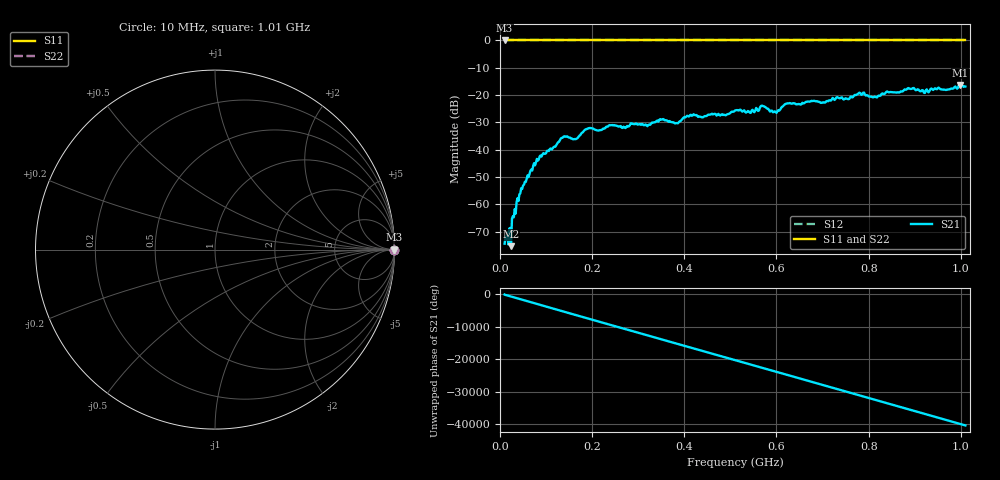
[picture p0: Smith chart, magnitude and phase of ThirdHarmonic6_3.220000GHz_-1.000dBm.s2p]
! 8/17/2025 9:49:49 AM
! C:\ANRITSUVNA\TEMP\TEMP.S2P
! CHANNEL.1
! TR.MEASUREMENT
! RAW.DATA
! RF.CORRECTION.OFF
! AVERAGING.OFF
! IF.BANDWIDTH: 5KHZ
! SWEEPTYPE:  FREQ.SWEEP(Linear)
! Reference Plane Port Info
! PORT:  PORT1  PORT2
! DISTANCE:  0  m  0  m
! TIME:  0  s  0  s
! PHASE.OFFSET:  0  deg.  0  deg.
! LOSS:  0  dB  0  dB
! REF.LOSS:  0  dB  0  dB
! REF.FREQ:  0  Hz  0  Hz
! Power Info
! POWER:  -20  dBm  -20  dBm
! EFF.POWER:  -20  dBm  -20  dBm
! SOURCE.ATTEN:  0  dB  0  dB
! TEST.ATTEN:  0  dB  0  dB
# GHZ S RI R 50.0
! FREQ.GHZ  S11RE  S11IM  S21RE  S21IM  S12RE  S12IM  S22RE  S22IM
!; PortSelection: Port_12
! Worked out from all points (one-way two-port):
!   501 points, 10 MHz to 1.01 GHz, reference 50 ohm
!   highest |S21| = -16.34 dB at 998 MHz (marker M1); lowest = -75.3 dB at 24 MHz (marker M2)
!   lowest |S11| = 0.0 dB at 10 MHz (marker M3)
!   |S11| at or under -10 dB: nowhere
!   |S22| runs from 0.0 to 0.0 dB; largest |S21 - S12| = 1.1
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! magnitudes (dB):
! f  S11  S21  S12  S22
! 10 MHz  0.0  -74.4  0.0  0.0
! 20 MHz  0.0  -68.9  0.0  0.0
! 24 MHz  0.0  -75.3  0.0  0.0
! 46 MHz  0.0  -54.1  0.0  0.0
! 84 MHz  0.0  -43.7  0.0  0.0
! 136 MHz  0.0  -35.6  0.0  0.0
! 164 MHz  0.0  -36.2  0.0  0.0
! 178 MHz  0.0  -33.8  0.0  0.0
! 194 MHz  0.0  -32.1  0.0  0.0
! 322 MHz  0.0  -30.9  0.0  0.0
! 344 MHz  0.0  -29.7  0.0  0.0
! 384 MHz  0.0  -30.3  0.0  0.0
! 416 MHz  0.0  -27.6  0.0  0.0
! 510 MHz  0.0  -25.7  0.0  0.0
! 548 MHz  0.0  -25.4  0.0  0.0
! 570 MHz  0.0  -24.0  0.0  0.0
! 596 MHz  0.0  -26.0  0.0  0.0
! 622 MHz  0.0  -23.1  0.0  0.0
! 678 MHz  0.0  -22.2  0.0  0.0
! 844 MHz  0.0  -19.0  0.0  0.0
! 998 MHz  0.0  -16.3  0.0  0.0
! 1.01 GHz  0.0  -16.9  0.0  0.0
